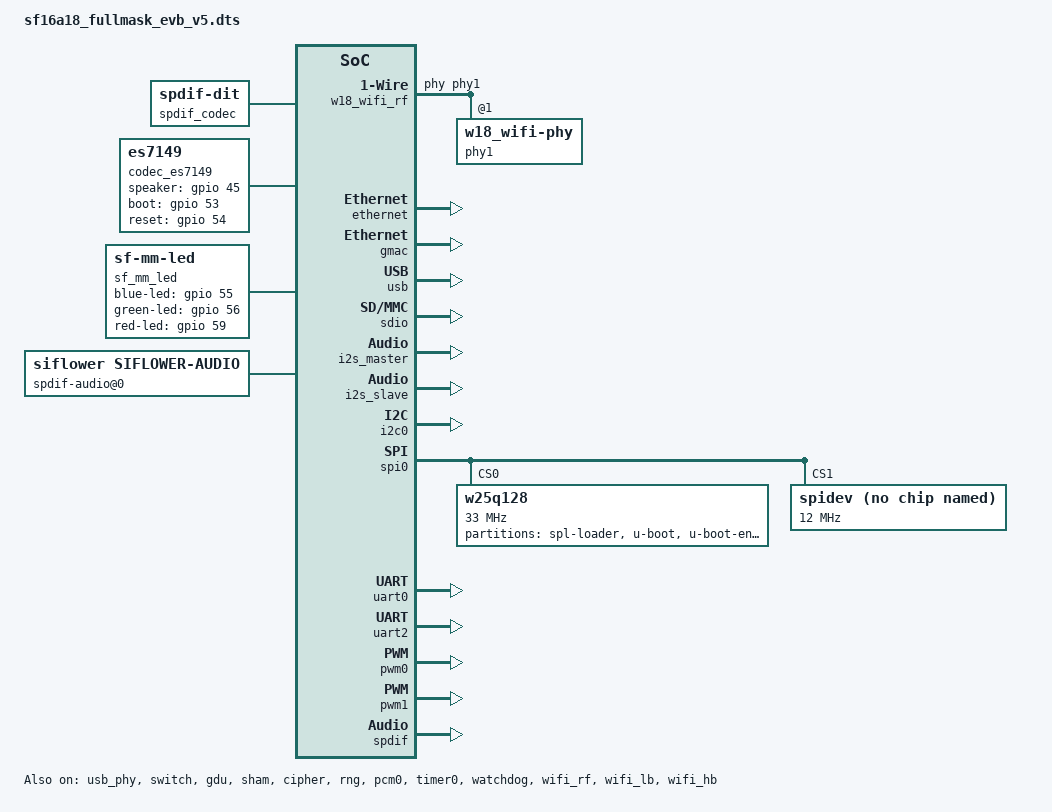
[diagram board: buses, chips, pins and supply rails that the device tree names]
/dts-v1/;

#include "sf16a18_full_mask.dtsi"
#include "sf16a18-thermal.dtsi"


/ {
	#address-cells = <1>;
	#size-cells = <1>;
	compatible = "siflower,sf16a18-soc";

	eth0-led {
		compatible = "eth-led";
		pinctrl-names = "default",  "gpio";
		pinctrl-0 = <&eth0_led>;
		pinctrl-1 = <&eth0_led_gpio>;
		eth0 {
			label = "eth_led0";
			gpios = <&gpio 55 1>;
			default-state = "on";
		};
	};

	eth1-led {
		compatible = "eth-led";
		pinctrl-names = "default",  "gpio";
		pinctrl-0 = <&eth1_led>;
		pinctrl-1 = <&eth1_led_gpio>;
		eth1 {
			label = "eth_led1";
			gpios = <&gpio 56 1>;
			default-state = "on";
		};
	};

	spdif_codec: spdif-codec@0 {
		compatible = "linux,spdif-dit";
	};

	codec_es7149: codec-es7149@0 {
		compatible = "es7149";
		speaker-gpio = <&gpio 45 0>;
		boot-gpio = <&gpio 53 0>;
		reset-gpio = <&gpio 54 0>;
	};

	sf_mm_led: sf-mm-led {
		compatible = "sf-mm-led";
		blue-led-gpio = <&gpio 55 0>;
		green-led-gpio = <&gpio 56 0>;
		red-led-gpio = <&gpio 59 0>;
		default-mode = <0x39>;
		default-interval = <500>;
	};

	w18_wifi_rf: w18_wifi-rf@7A00000{
		compatible = "siflower,pistachio-uccp";
		phy = <&phy1>;
		#address-cells = <1>;
		#size-cells = <0>;
		phy1: w18_wifi-phy@1 {
			reg = <1>;
			max-speed = <100>;
		};
	};

	spdif-audio@0 {
		compatible = "siflower,siflower-audio";
		model = "Siflower Spdif Audio";
		audio-controller = <&spdif>;
		audio-codec = <&spdif_codec>;
		audio-out;
	};

};

&usb_phy{
	status = "okay";
};

&ethernet {
	shutdown-portlist = "ll***";
        led-on-off-time = /bits/ 16 <0xff 0x2ff>;
	status = "okay";
	smp-affinity = <2>;
};

&switch{
	sfax8,port-map = "ll***";
	status = "okay";
	smp-affinity = <2>;
};

&gmac {
	status = "okay";
	smp-affinity = <0>;
};

&gdu {
	status = "okay";
	num-windows = <2>;
	rgb_order = <0 1 2>;
	power_gpio = <26 37>;
	bpp-mode = "RGB888";

	display-timings {
		native-mode = <&timing0>;
		timing0: gm05004001q {
			clock-frequency = <34539600>;
			hactive = <800>;
			vactive = <480>;
			hback-porch = <46>;
			hfront-porch = <210>;
			vback-porch = <23>;
			vfront-porch = <22>;
			hsync-len = <20>;
			vsync-len = <10>;
		};
	};
};

&sham {
	status = "okay";
};

&cipher {
	status = "okay";
};

&rng {
	status = "okay";
};

&gdma {
	status = "okay";
};

&usb {
	status = "okay";
};

&emmc {
	status = "disabled";
};

&sdio {
	status = "okay";
};

&i2s_master {
	status = "okay";
};

&i2s_slave {
	status = "okay";
};

/* This is used to set voltage during dvfs.
 * You should first know which pmu is in use, and
 * remove the default core-voltage set in pmu dts.
 */
/*
&cpu0 {
       cpu0-supply = <&rn5t567_core>;
       dcdc0-maxv = <1000000>;
};
*/


&i2c0 {
	status = "okay";
	#address-cells = <1>;
	#size-cells = <0>;
	/include/	"sf16a18_pmu.dtsi"
};

&i2c1 {
	status = "disabled";
	#address-cells = <1>;
	#size-cells = <0>;
/*
	codec: es8388s@11{
		compatible = "ambarella,es8388s";
		reg = <0x11>;
	};
*/
	es8316@11{
		compatible = "ESSX8316";
		reg = <0x11>;
	};

	rt5631@1a{
		compatible = "rt5631";
		reg = <0x1a>;
	};
};

&i2c2 {
	status = "disabled";
};

&spi0 {
	status = "okay";
	//use-dma;
	dmas = <&gdma 10
	&gdma 11>;
	dma-names = "tx", "rx";

	#address-cells = <1>;
	#size-cells = <0>;

	w25q128@0 {
		compatible = "w25q128";
		reg = <0>;	/* chip select */
		spi-max-frequency = <33000000>;

		bank-width = <2>;
		device-width = <2>;
		#address-cells = <1>;
		#size-cells = <1>;

		partition@0 {
			label = "spl-loader";
			reg = <0x0 0x20000>; /* 128k */
			read-only;
		};

		partition@20000 {
			label = "u-boot";
			reg = <0x20000 0x60000>; /* 384k */
		};

		partition@80000 {
			label = "u-boot-env";
			reg = <0x80000 0x10000>; /* 64k */
		};

		factory:partition@90000 {
			label = "factory";
			reg = <0x90000 0x10000>; /* 64k */
		};

		partition@a0000 {
			label = "firmware";
			reg = <0xa0000 0xf60000>; /* 640k-16M */
		};
	};

	spidev: spi@8200000 {
		compatible = "rohm,dh2228fv";
		reg = <1>;
		clock = <50000000>;
		spi-cpha;
		spi-cpol;
		spi-max-frequency=<12000000>;
	};
};

&uart0 {
	status = "okay";
};

&uart1 {
	status = "disabled";
};

&uart2 {
	status = "okay";
};

&uart3 {
	status = "disabled";
};

&pcm0 {
	status = "okay";
};

&pwm0 {
	status = "okay";
};

&pwm1 {
	status = "okay";
};

&timer0 {
	status = "okay";
};

&watchdog {
	status = "okay";
};

&spdif
{
	status = "okay";
};

&wifi_rf {
	status = "okay";
	gpio-expa = <&gpio 51 0>;
	/*for new evb board,gpio use different map with that in p10h board*/
	expa_map_type = <2>;
};

&wifi_lb {
	status = "okay";

	#address-cells = <1>;
	#size-cells = <0>;
	gpio-leds = <&gpio 61 0>;
	smp-affinity = <2>;
};

&wifi_hb {
	status = "okay";

	#address-cells = <1>;
	#size-cells = <0>;
	gpio-leds = <&gpio 36 0>;
	smp-affinity = <3>;
};
